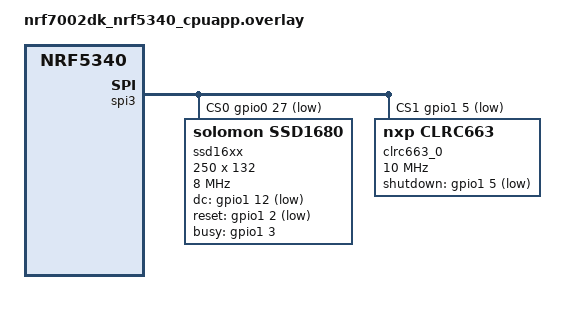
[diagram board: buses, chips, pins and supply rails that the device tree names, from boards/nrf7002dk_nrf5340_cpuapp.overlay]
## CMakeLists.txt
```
#-------------------------------------------------------------------------------
# Zephyr Example Application
#
# Copyright (c) 2021 Nordic Semiconductor ASA
# SPDX-License-Identifier: Apache-2.0

cmake_minimum_required(VERSION 3.20.0)
set(SYSCALL_INCLUDE_DIRS "${CMAKE_CURRENT_SOURCE_DIR}/../include")

find_package(Zephyr REQUIRED HINTS $ENV{ZEPHYR_BASE})

project(app LANGUAGES C)

target_sources(app PRIVATE 
    src/main.c
    src/desfire/DesfireApp.cpp
    src/desfire/AES128.cpp
    src/desfire/DES.cpp
    src/desfire/Desfire.cpp
    src/desfire/Utils.cpp
    )
```

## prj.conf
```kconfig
# Copyright (c) 2021 Nordic Semiconductor ASA
# SPDX-License-Identifier: Apache-2.0
#
# This file contains selected Kconfig options for the application.
# set the heap size (4kB) and the stack size (2kB)
CONFIG_HEAP_MEM_POOL_SIZE=4096 
CONFIG_MAIN_STACK_SIZE=4096

# Enable Hardware Interfaces
CONFIG_GPIO=y
CONFIG_SPI=y

# Enable drivers
CONFIG_CLRC663=y
CONFIG_SSD16XX=y

#CONFIG_CRYPTO=y
CONFIG_CPP=y

# Enable Display
CONFIG_DISPLAY=y
CONFIG_DISPLAY_LOG_LEVEL_ERR=y

# logging
CONFIG_LOG=y
CONFIG_LOG_BUFFER_SIZE=4096
CONFIG_USE_SEGGER_RTT=y
CONFIG_LOG_BACKEND_RTT=y
CONFIG_CLRC663_LOG_LEVEL_INF=y
CONFIG_APP_LOG_LEVEL_INF=y
#CONFIG_POSIX_CLOCK=y

# enable lvgl
CONFIG_LVGL=y
CONFIG_LV_Z_MEM_POOL_SIZE=4096

CONFIG_LV_COLOR_DEPTH_1=y
CONFIG_LV_USE_LABEL=y
CONFIG_LV_USE_WIN=y
CONFIG_LV_USE_IMG=y

CONFIG_LV_TXT_ENC_UTF8=y
```

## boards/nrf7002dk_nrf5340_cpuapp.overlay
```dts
/*
 * Copyright (c) 2024 Johann Gilliéron
 * SPDX-License-Identifier: Apache-2.0
 */
 / {
    chosen {
        zephyr,display = &ssd16xx;
    };
};

&spi3 {
    status = "okay";
    cs-gpios = <&gpio0 27 GPIO_ACTIVE_LOW>, <&gpio1 5 GPIO_ACTIVE_LOW>; //, <&gpio0 3 GPIO_ACTIVE_LOW>

    ssd16xx: ssd1680@0 {
        compatible = "solomon,ssd1680";
        spi-max-frequency = <8000000>;
        status = "okay";
        reg = <0>;
        width = <250>;
        height = <132>;
        dc-gpios = <&gpio1 12 GPIO_ACTIVE_LOW>;
        reset-gpios = <&gpio1 2 GPIO_ACTIVE_LOW>;
        busy-gpios = <&gpio1 3 GPIO_ACTIVE_HIGH>;
        zephyr,pm-device-runtime-auto;
    };

    clrc663_0: nfc@1 {
        compatible = "nxp,clrc663";
        status = "okay";
		reg = <1>;
        shutdown-gpios = <&gpio1 5 GPIO_ACTIVE_LOW>;
        spi-max-frequency = <10000000>;
    };
};
```

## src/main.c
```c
/*
 * Copyright (C) 2024 Johann Gilliéron
 * SPDX-License-Identifier: Apache-2.0
 */
#include <soc.h>
#include <zephyr/kernel.h>
#include <zephyr/devicetree.h>
#include <zephyr/drivers/nfc.h>
#include <zephyr/drivers/gpio.h>
#include <zephyr/logging/log.h>
#include <lvgl.h>
#include "fonts/font_poppins_14.h"
#include "fonts/font_poppins_28.h"

#include "desfire/DesfireApp.h"

LOG_MODULE_REGISTER(main, CONFIG_APP_LOG_LEVEL);

#define UID_MAX_LEN 10
#define ATS_MAX_LEN 64
#define SAK_LEN 1
#define ATQA_LEN 2
#define DESFIRE_SECRET_LEN 8

// Thread defines
#define READER_THREAD_DELAY_MS 200
#define STACKSIZE 8096
#define PRIORITY 5
K_THREAD_STACK_DEFINE(reader_thread_stack, STACKSIZE);
struct k_thread reader_thread_id;

#if !DT_NODE_EXISTS(DT_NODELABEL(clrc663_0))
#error "whoops, node label clrc663_0 not found"
#endif

const struct device *clrc663;

/*
 * Get button configuration from the devicetree sw0 alias. This is mandatory.
 */
#define SW0_NODE	DT_ALIAS(sw0)
#if !DT_NODE_HAS_STATUS(SW0_NODE, okay)
#error "Unsupported board: sw0 devicetree alias is not defined"
#endif

static const struct gpio_dt_spec button = GPIO_DT_SPEC_GET_OR(SW0_NODE, gpios,{0});
static struct gpio_callback button_cb_data;
static bool flag_btn = false;

/*
 * The led0 devicetree alias is optional. If present, we'll use it
 * to turn on the LED whenever the button is pressed.
 */
static struct gpio_dt_spec led = GPIO_DT_SPEC_GET_OR(DT_ALIAS(led0), gpios, {0});

// LVGL objects for the display
static lv_obj_t *label_title;
static lv_obj_t *label_begin;
static lv_obj_t *label_uid;
static lv_obj_t *label_sak;
static lv_obj_t *label_atqa;
static lv_obj_t *label_ats;
static lv_obj_t *label_secret;
static lv_obj_t *label_no_tag;
static lv_obj_t *label_error;
static lv_style_t big_font, small_font;
lv_style_t* big_font_pointer = &big_font;
lv_style_t* small_font_pointer = &small_font;

const struct device *display_dev;

void button_pressed(const struct device *dev, struct gpio_callback *cb, uint32_t pins) {
	LOG_INF("Button pressed at %" PRIu32 "\n", k_cycle_get_32());
	flag_btn = true;
}

// Function to test the screen display
void display_init() {
	static lv_obj_t *info_value;
	static lv_obj_t *info_text;
	static lv_obj_t *info_label;
	static lv_obj_t *info_scr = NULL;
	lv_init();
	info_scr = lv_obj_create(NULL);

	//Initialize fonts
	lv_style_init(big_font_pointer);
	lv_style_init(small_font_pointer);

	lv_style_set_text_font(big_font_pointer, &font_poppins_28);
	lv_style_set_text_font(small_font_pointer, &font_poppins_14);

	//Main label for informative text	
	info_value = lv_label_create(info_scr);
	lv_obj_add_style(info_value, big_font_pointer, LV_PART_MAIN);
	lv_obj_align(info_value, LV_ALIGN_TOP_MID, 0, -10);

	// Sublabel for informative text
	info_text = lv_label_create(info_scr);
	lv_obj_add_style(info_text, small_font_pointer, LV_PART_MAIN);
	lv_obj_align(info_text, LV_ALIGN_CENTER, 0, 0);

	//Sublabel for informative text
	info_label = lv_label_create(info_scr);
	lv_obj_add_style(info_label, small_font_pointer, LV_PART_MAIN);
	lv_obj_align(info_label, LV_ALIGN_BOTTOM_MID, 0, -10);

	//Text	
	lv_label_set_text(info_value, "Johann Gilliéron");
	//Subtext
	lv_label_set_text(info_text, "Travail de Bachelor");
	//Subtext
	lv_label_set_text(info_label, " Électronique compacte pour  \naccès sécurité par badge RFID");

	lv_scr_load(info_scr);

	lv_task_handler(); // Handle the LVGL tasks
	k_sleep(K_SECONDS(4)); // Wait for the display to be refreshed	
}

// Function to create the information display
void create_info_display(lv_obj_t * parent) {
	// Container for the information
	lv_obj_clean(parent);

    // Create a label for the title
    label_title = lv_label_create(parent);
	lv_obj_add_style(label_title, big_font_pointer, LV_PART_MAIN);
    lv_label_set_text_static(label_title, "NFC Info");
    lv_obj_align(label_title, LV_ALIGN_CENTER, 0, -50);

	// Create a label for the begin
	label_begin = lv_label_create(parent);
	lv_label_set_long_mode(label_begin, LV_LABEL_LONG_WRAP);
	lv_obj_set_width(label_begin, 250);
	lv_obj_add_style(label_begin, small_font_pointer, LV_PART_MAIN);
	lv_label_set_text_static(label_begin, "Ready to scan a NFC tag\nPlease press the button 1 to start the scan");
	lv_obj_set_style_text_align(label_begin, LV_TEXT_ALIGN_CENTER, 0);
	lv_obj_align(label_begin, LV_ALIGN_CENTER, 0, 0);

	// Create a label for the error
	label_error = lv_label_create(parent);
	lv_obj_add_style(label_error, small_font_pointer, LV_PART_MAIN);
	lv_label_set_text_static(label_error, "Error in the NFC communication");
	lv_obj_align(label_error, LV_ALIGN_CENTER, 0, 0);

    // Create a label for the uid
    label_uid = lv_label_create(parent);
	lv_obj_add_style(label_uid, small_font_pointer, LV_PART_MAIN);
    lv_label_set_text(label_uid, "UID: ");
    lv_obj_align(label_uid, LV_ALIGN_LEFT_MID, 0, -30);

	// Create a label for the SAK
    label_sak = lv_label_create(parent);
	lv_obj_add_style(label_sak, small_font_pointer, LV_PART_MAIN);
    lv_label_set_text(label_sak, "SAK: ");
    lv_obj_align(label_sak, LV_ALIGN_LEFT_MID, 0, -10);

	// Create a label for the ATQA
    label_atqa = lv_label_create(parent);
	lv_obj_add_style(label_atqa, small_font_pointer, LV_PART_MAIN);
    lv_label_set_text(label_atqa, "ATQA: ");
    lv_obj_align(label_atqa, LV_ALIGN_LEFT_MID, 0, 10);

	// Create a label for the ATS
	label_ats = lv_label_create(parent);
	lv_obj_add_style(label_ats, small_font_pointer, LV_PART_MAIN);
	lv_label_set_text(label_ats, "ATS: ");
	lv_obj_align(label_ats, LV_ALIGN_LEFT_MID, 0, 30);

	label_secret = lv_label_create(parent);
	lv_obj_add_style(label_secret, small_font_pointer, LV_PART_MAIN);
	lv_label_set_text(label_secret, "Secret: ");
	lv_obj_align(label_secret, LV_ALIGN_LEFT_MID, 0, 50);

	// Create a label for the case where no tag is detected
	label_no_tag = lv_label_create(parent);
	lv_obj_add_style(label_no_tag, big_font_pointer, LV_PART_MAIN);
	lv_label_set_text_static(label_no_tag, "No NFC detected");
	lv_obj_align(label_no_tag, LV_ALIGN_CENTER, 0, 0);
	
	// Show the label begin only and hide the others
	lv_obj_add_flag(label_uid, LV_OBJ_FLAG_HIDDEN);
	lv_obj_add_flag(label_sak, LV_OBJ_FLAG_HIDDEN);
	lv_obj_add_flag(label_atqa, LV_OBJ_FLAG_HIDDEN);
	lv_obj_add_flag(label_ats, LV_OBJ_FLAG_HIDDEN);
	lv_obj_add_flag(label_secret, LV_OBJ_FLAG_HIDDEN);
	lv_obj_add_flag(label_no_tag, LV_OBJ_FLAG_HIDDEN);
	lv_obj_add_flag(label_error, LV_OBJ_FLAG_HIDDEN);

	lv_task_handler(); // Handle the LVGL tasks
	k_sleep(K_SECONDS(3)); // Wait for the display to be refreshed
}

// Function to refresh the display with the new information
void refresh_info_display(uint8_t *UID, uint8_t UID_length, uint8_t *SAK, uint8_t *ATQA, uint8_t *ATS, uint8_t ATS_length, char *secret) {
	lv_obj_add_flag(label_begin, LV_OBJ_FLAG_HIDDEN);
	if(UID_length <= 0){
		// Hide the labels with the information
		lv_obj_add_flag(label_uid, LV_OBJ_FLAG_HIDDEN);
		lv_obj_add_flag(label_sak, LV_OBJ_FLAG_HIDDEN);
		lv_obj_add_flag(label_atqa, LV_OBJ_FLAG_HIDDEN);
		lv_obj_add_flag(label_ats, LV_OBJ_FLAG_HIDDEN);
		// Show the label for the case where no tag is detected
		lv_obj_clear_flag(label_no_tag, LV_OBJ_FLAG_HIDDEN);
	} else {
		// Update the information in the labels
		char uid_str[UID_MAX_LEN * 3]; // Chaîne de caractères pour l'UID
		char ats_str[ATS_MAX_LEN * 3]; // Chaîne de caractères pour l'ATS
		char secret_str[DESFIRE_SECRET_LEN * 3 + 1]; // Chaîne de caractères pour le secret

		// Convert the UID to a hexadecimal string
		for (int i = 0; i < UID_length; i++) {
			LOG_INF("UID[%d] = %02x", i, UID[i]);
			snprintf(uid_str + i * 3, 4, "%02x:", UID[i]);
			LOG_INF("UID_str[%d] = %s", i, uid_str);
		}
		uid_str[UID_length * 3 - 1] = '\0';
		LOG_INF("UID_str final = %s", uid_str);

		// Convert the ATS to a hexadecimal string
		for (int i = 0; i < ATS_length; i++) {
			snprintf(ats_str + i * 3, 4, "%02x ", ATS[i]);
		}
		ats_str[ATS_length * 3 - 1] = '\0';
		LOG_INF("UID_str final = %s", uid_str);

		// Convert the secret to a hexadecimal string
		for (int i = 0; i < DESFIRE_SECRET_LEN; i++) {
			snprintf(secret_str + i * 3, 4, "%02x ", secret[i]);
		}
		secret_str[DESFIRE_SECRET_LEN * 3 - 1] = '\0';
		LOG_INF("UID_str final = %s", uid_str);

		// Update the information in the labels
		LOG_INF("UID: %s", uid_str);
		lv_label_set_text_fmt(label_uid, "UID: %s", uid_str);
		lv_label_set_text_fmt(label_sak, "SAK: %02x", SAK[0]);
		lv_label_set_text_fmt(label_atqa, "ATQA: %02x %02x", ATQA[1], ATQA[0]);
		if (ATS_length > 0) {
			lv_label_set_text_fmt(label_ats, "ATS: %s", ats_str);
			lv_label_set_text_fmt(label_secret, "Secret: %s", secret_str);
		} else {
			lv_label_set_text(label_ats, "Not ISO14443-4 compliant");
		}

		// Show the labels with the information
		lv_obj_clear_flag(label_uid, LV_OBJ_FLAG_HIDDEN);
		lv_obj_clear_flag(label_sak, LV_OBJ_FLAG_HIDDEN);
		lv_obj_clear_flag(label_atqa, LV_OBJ_FLAG_HIDDEN);
		lv_obj_clear_flag(label_ats, LV_OBJ_FLAG_HIDDEN);
		lv_obj_clear_flag(label_secret, LV_OBJ_FLAG_HIDDEN);
		// Hide the label for the case where no tag is detected
		lv_obj_add_flag(label_no_tag, LV_OBJ_FLAG_HIDDEN);
	}
	lv_task_handler(); // Handle the LVGL tasks
}

// Thread to handle the NFC reading by button press
void reader_thread(void) {
	LOG_INF("Thread reader started");
	static char secret[DESFIRE_SECRET_LEN];
	static uint8_t sak[SAK_LEN];
	static uint8_t *uid;
	static uint8_t *atqa;
	static uint8_t *ats;
	static uint8_t uid_length = 0;
	static uint8_t ats_length = 0;
	atqa = k_calloc(ATQA_LEN, sizeof(uint8_t));
	uid = k_calloc(UID_MAX_LEN, sizeof(uint8_t));
	ats = k_calloc(ATS_MAX_LEN, sizeof(uint8_t));
	
	while (true) {
		if (flag_btn) {
			LOG_INF("================  Button pressed  ================");
			if(read_nfc_card(uid, &uid_length, sak, atqa, ats, &ats_length))
			{
				LOG_INF("Card detected");
				LOG_HEXDUMP_INF(atqa, 2, "ATQA: ");
				LOG_HEXDUMP_INF(uid, uid_length, "UID: ");
				LOG_HEXDUMP_INF(sak, 1, "SAK: ");
				if (ats_length > 0) {
					LOG_HEXDUMP_INF(ats, ats_length, "ATS: ");
					if(!init_card(secret)) {
						LOG_ERR("Error in the DESFire card initialization");
					}
				} else {
					LOG_INF("No ATS : NFC tag not compliant with ISO14443-4");
				}
			}
			refresh_info_display(uid, uid_length, sak, atqa, ats, ats_length, secret);
			flag_btn = false;
		}
		k_sleep(K_MSEC(READER_THREAD_DELAY_MS));
	}
}

int main(void) {
	
	int ret;

	LOG_INF("Beginning of the CLRC663 driver test program ...");
	init_defireApp();
	// Initialize the CLRC663 connexion and check if the reader is ready
	clrc663 = DEVICE_DT_GET(DT_NODELABEL(clrc663_0));
	if (clrc663 == NULL) {
		LOG_ERR("CLRC663 not found");
		return 0;
	}

	if (!device_is_ready(clrc663)) {
		LOG_ERR("Reader not ready");
		return 0;
	}
	LOG_INF("Reader ready");

	// Initialize display device
	display_dev = DEVICE_DT_GET(DT_CHOSEN(zephyr_display));
	if (!device_is_ready(display_dev)) {
		LOG_ERR("E-paper initialize error");
		return 1;
	}
	LOG_INF("E-paper initialized");
	display_init();
	LOG_INF("display_init initialized");
	create_info_display(lv_scr_act());

	if (!gpio_is_ready_dt(&button)) {
		LOG_ERR("Error: button device %s is not ready\n",
		       button.port->name);
		return 0;
	}

	ret = gpio_pin_configure_dt(&button, GPIO_INPUT);
	if (ret != 0) {
		LOG_ERR("Error %d: failed to configure %s pin %d\n",
		       ret, button.port->name, button.pin);
		return 0;
	}

	ret = gpio_pin_interrupt_configure_dt(&button,
					      GPIO_INT_EDGE_TO_ACTIVE);
	if (ret != 0) {
		LOG_ERR("Error %d: failed to configure interrupt on %s pin %d\n",
			ret, button.port->name, button.pin);
		return 0;
	}

	gpio_init_callback(&button_cb_data, button_pressed, BIT(button.pin));
	gpio_add_callback(button.port, &button_cb_data);
	printk("Set up button at %s pin %d\n", button.port->name, button.pin);

	if (led.port && !gpio_is_ready_dt(&led)) {
		LOG_ERR("Error %d: LED device %s is not ready; ignoring it\n",
		       ret, led.port->name);
		led.port = NULL;
	}
	if (led.port) {
		ret = gpio_pin_configure_dt(&led, GPIO_OUTPUT);
		if (ret != 0) {
			LOG_ERR("Error %d: failed to configure LED device %s pin %d\n",
			       ret, led.port->name, led.pin);
			led.port = NULL;
		} else {
			LOG_INF("Set up LED at %s pin %d\n", led.port->name, led.pin);
		}
	}

	// create the reader thread
	k_thread_create(&reader_thread_id, reader_thread_stack,
		K_THREAD_STACK_SIZEOF(reader_thread_stack),
		reader_thread, 
		NULL, NULL, NULL,
		PRIORITY, 0, K_NO_WAIT);

	LOG_INF("End of the CLRC663 driver main program ...");
	return 0;
}
```
